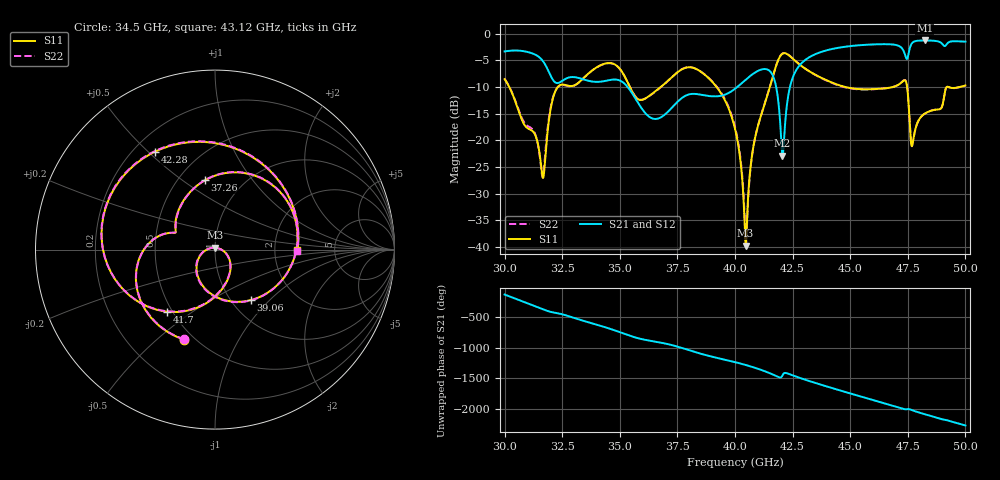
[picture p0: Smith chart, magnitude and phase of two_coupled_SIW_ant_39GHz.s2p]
! Touchstone file from project two_antenna_SIW_mirror_39GHz
! Exported from HFSS 2017.0.0
! Variables:
!  $D1 = 2.13371266002845mm
!  $Disk_shift = -0.15647226173542mm
!  $G1 = 0.245193885882145mm
!  $G2 = 0.612984714705363mm
!  $S0 = 15mil
!  $S1 = 10mil
!  $S2 = 4.9038777176429mm
!  $SL = 1.47116330014225mm
!  $SW = 0.588465326117148mm
!  $VL = 1.83895414411609mm
!  $VW = 0.622792470140648mm
!  $W = 3.42712690890829mm
!  $W1 = 3.42712690890829mm
!  $length = 24.5193885882145mm
!  $offset = 1.48648648648649mm
!  $patch_step = 3.37141591572887mm
!  $slot_side = 0.668563300142248mm
!  $slot_step = 1.90025261558662mm
!  $substrate_edge = 1.71635720117502mm
!  $width = 7.11237553342817mm
!  leak_gap = 7mm
!Data is not renormalized
# GHZ S MA
! Modal data exported
! Port[1] = 1:1
! Port[2] = 2:1
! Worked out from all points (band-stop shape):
!   1001 points, 30 GHz to 50 GHz, reference per port
!   highest |S21| = -1.28 dB at 48.24 GHz (marker M1); lowest = -22.8 dB at 42.06 GHz (marker M2)
!   |S21| within 3 dB of the highest: 43.28 GHz to 47.41 GHz (4.123 GHz wide, 9.09 % of centre); 47.51 GHz to end of sweep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
!   lowest |S11| = -39.7 dB at 40.46 GHz (marker M3), VSWR 1.02
!   |S11| at or under -10 dB: 30.2 GHz to 32.31 GHz (2.107 GHz wide, 6.74 % of centre); 39.2 GHz to 41.51 GHz (2.311 GHz wide, 5.73 % of centre); 44.79 GHz to 46.86 GHz (2.069 GHz wide, 4.51 % of centre)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
!   |S22| runs from -39.8 to -3.6 dB; largest |S21 - S12| = 8.1e-13
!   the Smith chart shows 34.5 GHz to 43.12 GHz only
!   S11 on the Smith chart (normalised r, x): 34.5 GHz: 0.44, -0.62; 37.26 GHz: 0.67, +0.61; 39.06 GHz: 1.22, -0.78; 41.7 GHz: 0.47, -0.40; 42.28 GHz: 0.28, +0.52; 43.12 GHz: 2.69, -0.03
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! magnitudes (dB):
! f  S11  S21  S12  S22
! 30 GHz  -8.5  -3.3  -3.3  -8.5
! 31.66 GHz  -27.0  -5.1  -5.1  -26.9
! 32.2 GHz  -10.8  -9.1  -9.1  -10.8
! 33.34 GHz  -8.7  -8.5  -8.5  -8.7
! 34.5 GHz  -5.5  -8.8  -8.8  -5.5
! 35.82 GHz  -12.4  -13.2  -13.2  -12.3
! 36.68 GHz  -10.3  -15.9  -15.9  -10.4
! 37.26 GHz  -8.2  -13.9  -13.9  -8.2
! 39.06 GHz  -9.3  -11.7  -11.7  -9.2
! 40 GHz  -17.8  -10.3  -10.3  -17.5
! 40.46 GHz  -39.7  -8.7  -8.7  -39.1
! 40.84 GHz  -20.2  -7.4  -7.4  -20.2
! 41.7 GHz  -7.2  -8.5  -8.5  -7.2
! 42.06 GHz  -3.8  -22.8  -22.8  -3.7
! 42.28 GHz  -3.9  -12.5  -12.5  -3.8
! 43.12 GHz  -6.8  -4.7  -4.7  -6.8
! 43.34 GHz  -7.4  -4.2  -4.2  -7.4
! 46.68 GHz  -10.2  -2.0  -2.0  -10.2
! 47.38 GHz  -8.7  -3.9  -3.9  -8.7
! 47.7 GHz  -20.8  -1.7  -1.7  -20.8
! 48.24 GHz  -15.0  -1.3  -1.3  -15.0
! 50 GHz  -9.7  -1.5  -1.5  -9.8
